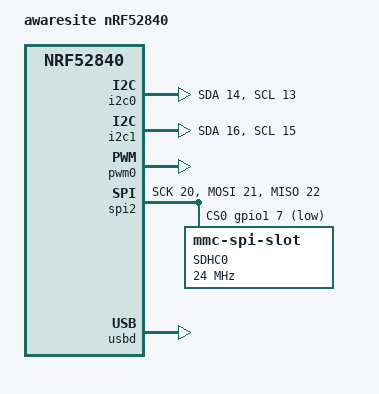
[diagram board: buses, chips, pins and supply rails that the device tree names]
/*
 * awaresite board configuration
 */

/dts-v1/;
#include <nordic/nrf52840_qiaa.dtsi>

/ {
	model = "awaresite nRF52840";
	compatible = "rical,awaresite-nrf52840";

	chosen {
		zephyr,sram = &sram0;
		zephyr,flash = &flash0;
		zephyr,code-partition = &slot0_partition;
	};
};

&gpio0 {
	status = "okay";
};

&gpio1 {
	status = "okay";
};

&i2c0 {
	compatible = "nordic,nrf-twi";
	status = "okay";
	sda-pin = <14>;
	scl-pin = <13>;
};

&i2c1 {
	compatible = "nordic,nrf-twi";
	/* Cannot be used together with spi1. */
	/* status = "okay"; */
	sda-pin = <16>;
	scl-pin = <15>;
};

&pwm0 {
	status = "okay";
	ch0-pin = <6>;
	ch0-inverted;
	ch1-pin = <8>;
	ch1-inverted;
};

&spi0 {
	status = "disabled";
};

&spi1 {
	status = "disabled";
};

&spi2 {
	compatible = "nordic,nrf-spi";
	status = "okay";
	sck-pin = <20>;
	mosi-pin = <21>;
	miso-pin = <22>;
	cs-gpios = <&gpio1 7 GPIO_ACTIVE_LOW>;

	sdhc0: sdhc@0 {
		compatible = "zephyr,mmc-spi-slot";
                reg = <0>;
                status = "okay";
                label = "SDHC0";
                spi-max-frequency = <24000000>;
	};
};

&flash0 {

	partitions {
		compatible = "fixed-partitions";
		#address-cells = <1>;
		#size-cells = <1>;

		boot_partition: partition@0 {
			label = "mcuboot";
			reg = <0x000000000 0x0000C000>;
		};
		slot0_partition: partition@c000 {
			label = "image-0";
			reg = <0x0000C000 0x00067000>;
		};
		slot1_partition: partition@73000 {
			label = "image-1";
			reg = <0x00073000 0x00067000>;
		};
		scratch_partition: partition@da000 {
			label = "image-scratch";
			reg = <0x000da000 0x0001e000>;
		};

		/*
		 * The flash starting at 0x000f8000 and ending at
		 * 0x000fffff is reserved for use by the application.
		 */

		/*
		 * Storage partition will be used by FCB/LittleFS/NVS
		 * if enabled.
		 */
		storage_partition: partition@f8000 {
			label = "storage";
			reg = <0x000f8000 0x00008000>;
		};
	};
};

zephyr_udc0: &usbd {
	compatible = "nordic,nrf-usbd";
	status = "okay";
};
